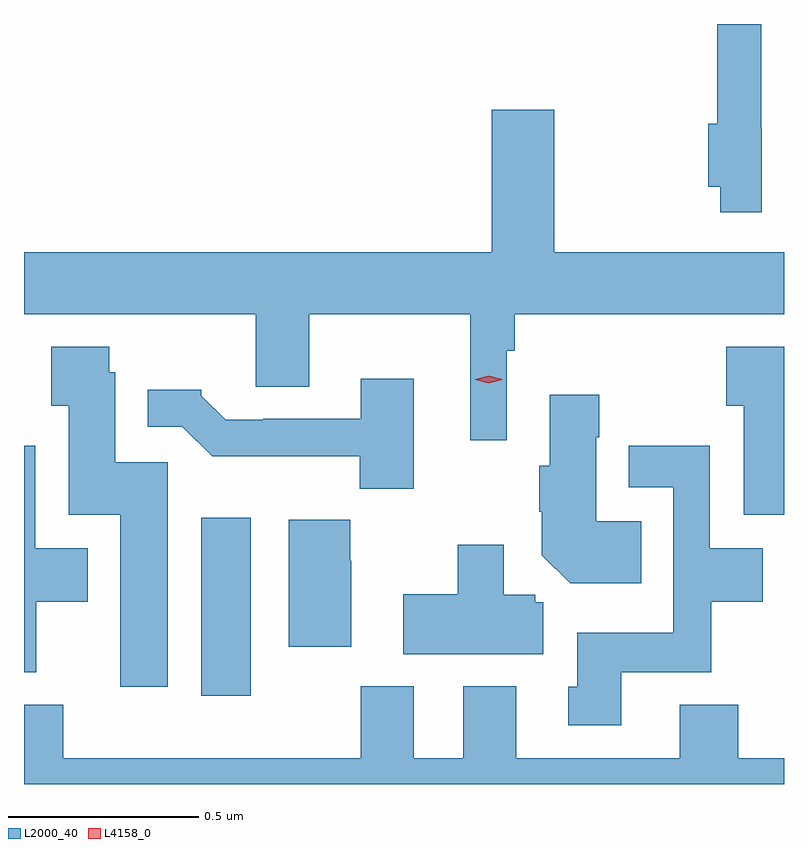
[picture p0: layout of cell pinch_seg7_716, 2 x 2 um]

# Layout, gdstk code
import gdstk
lib = gdstk.Library(unit=1e-6, precision=1e-09)
def R(c, l, rs):  # rectangles x0, y0, x1, y1
    for r in rs: c.add(gdstk.rectangle(r[:2], r[2:], *l))
def P(c, l, *ps):  # polygons
    for p in ps: c.add(gdstk.Polygon(p, *l))
L2000_40 = (2000, 40)
L4158_0 = (4158, 0)

pinch_seg7_716 = lib.new_cell('pinch_seg7_716')
R(pinch_seg7_716, L2000_40, [(212.195,1016.928,212.326,1017.397)])
P(pinch_seg7_716, L2000_40, [(213.67,1018.422),(213.669,1018.422),(213.669,1018.696),(213.553,1018.696),(213.553,1018.434),(213.529,1018.434),(213.529,1018.268),(213.561,1018.268),(213.561,1018.2),(213.67,1018.2)],
  [(213,1017.836),(213.02,1017.836),(213.02,1017.932),(213.729,1017.932),(213.729,1018.096),(213.124,1018.096),(213.124,1018.471),(212.96,1018.471),(212.96,1018.096),(211.729,1018.096),(211.729,1017.932),(212.339,1017.932),(212.339,1017.742),(212.479,1017.742),(212.479,1017.932),(212.903,1017.932),(212.903,1017.6),(213,1017.6)],
  [(213.729,1017.847),(213.577,1017.847),(213.577,1017.691),(213.623,1017.691),(213.623,1017.404),(213.729,1017.404)],
  [(212.107,1017.543),(211.969,1017.543),(211.969,1017.78),(211.953,1017.78),(211.953,1017.847),(211.801,1017.847),(211.801,1017.691),(211.847,1017.691),(211.847,1017.404),(211.982,1017.404),(211.982,1016.952),(212.107,1016.952)],
  [(212.755,1017.763),(212.615,1017.763),(212.615,1017.657),(212.359,1017.657),(212.359,1017.654),(212.26,1017.654),(212.196,1017.718),(212.196,1017.733),(212.054,1017.733),(212.054,1017.636),(212.145,1017.636),(212.224,1017.558),(212.613,1017.558),(212.613,1017.473),(212.755,1017.473)],
  [(213.353,1017.388),(213.235,1017.388),(213.235,1017.608),(213.243,1017.608),(213.243,1017.721),(213.113,1017.721),(213.113,1017.534),(213.085,1017.534),(213.085,1017.412),(213.092,1017.412),(213.092,1017.298),(213.166,1017.224),(213.353,1017.224)],
  [(211.761,1017.176),(211.897,1017.176),(211.897,1017.316),(211.758,1017.316),(211.758,1017.586),(211.729,1017.586),(211.729,1016.99),(211.761,1016.99)],
  [(213.301,1016.99),(213.537,1016.99),(213.537,1017.176),(213.673,1017.176),(213.673,1017.316),(213.534,1017.316),(213.534,1017.586),(213.321,1017.586),(213.321,1017.477),(213.438,1017.477),(213.438,1017.094),(213.185,1017.094),(213.185,1016.952),(213.161,1016.952),(213.161,1016.85),(213.301,1016.85)],
  [(212.59,1017.284),(212.588,1017.284),(212.588,1017.391),(212.426,1017.391),(212.426,1017.057),(212.59,1017.057)],
  [(213.096,1017.174),(213.075,1017.174),(213.075,1017.194),(212.992,1017.194),(212.992,1017.325),(212.87,1017.325),(212.87,1017.196),(212.727,1017.196),(212.727,1017.038),(213.096,1017.038)],
  [(213.729,1016.764),(213.608,1016.764),(213.608,1016.905),(213.455,1016.905),(213.455,1016.764),(213.025,1016.764),(213.025,1016.953),(212.885,1016.953),(212.885,1016.764),(212.755,1016.764),(212.755,1016.953),(212.615,1016.953),(212.615,1016.764),(211.832,1016.764),(211.832,1016.905),(211.729,1016.905),(211.729,1016.696),(213.729,1016.696)])
P(pinch_seg7_716, L4158_0, [(212.952,1017.751),(212.916,1017.76),(212.916,1017.761),(212.916,1017.761),(212.952,1017.771),(212.988,1017.761),(212.988,1017.761),(212.988,1017.76)])

lib.write_gds('pinch_seg7_716.gds')
